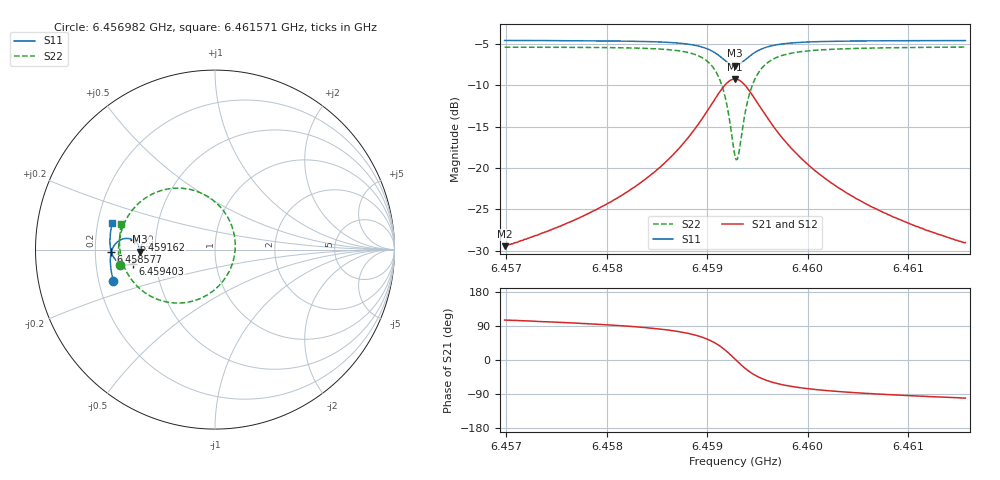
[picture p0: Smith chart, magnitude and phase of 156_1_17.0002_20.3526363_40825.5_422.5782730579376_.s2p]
#  HZ  S  RI  R  50.00
! Rohde & Schwarz Vector Network Analyzer
! Rohde-Schwarz,ZNB20-2Port,1311601062101988,3.16
! Created: UTC 3/20/2024, 10:59:02 PM
! freq[Hz]  re:S11  im:S11  re:S21  im:S21  re:S12  im:S12  re:S22  im:S22
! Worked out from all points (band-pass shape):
!   401 points, 6.456982 GHz to 6.461571 GHz, reference 50 ohm
!   highest |S21| = -9.21 dB at 6.459277 GHz (marker M1); lowest = -29.4 dB at 6.456982 GHz (marker M2)
!   |S21| within 3 dB of the highest: 6.459047 GHz to 6.459505 GHz (458.8 kHz wide, 0.0071 % of centre)
!   lowest |S11| = -7.6 dB at 6.459277 GHz (marker M3), VSWR 2.43, Z = 20.6 - j0.584 ohm
!   |S11| at or under -10 dB: nowhere
!   |S22| runs from -19.0 to -5.4 dB; largest |S21 - S12| = 0.014
!   S11 on the Smith chart (normalised r, x): 6.456982 GHz: 0.26, -0.14; 6.458577 GHz: 0.27, -0.01; 6.459162 GHz: 0.37, +0.05; 6.459403 GHz: 0.37, -0.07; 6.461571 GHz: 0.26, +0.12
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6.456982e9  -0.5662 -0.1732  -0.00894 0.0325  -0.00729 0.0324  -0.5319 -0.0857
6.4577506e9  -0.5804 -0.1059  -0.00579 0.0504  -0.00323 0.0499  -0.5376 0.00439
6.4581637e9  -0.5833 -0.0645  -0.000151 0.0694  0.0032 0.068  -0.5298 0.0696
6.4585193e9  -0.5796 -0.0221  0.0141 0.0991  0.018 0.0963  -0.5042 0.1494
6.4585767e9  -0.5777 -0.0142  0.0183 0.1059  0.0224 0.103  -0.4961 0.1663
6.4587832e9  -0.5648 0.018  0.0459 0.1385  0.05 0.1337  -0.4445 0.239
6.4589323e9  -0.542 0.0445  0.0913 0.1693  0.0946 0.1626  -0.361 0.3037
6.45907e9  -0.498 0.062  0.1788 0.1859  0.1798 0.1786  -0.2013 0.3425
6.4591618e9  -0.4531 0.0517  0.269 0.1546  0.2693 0.1487  -0.0345 0.2919
6.4592306e9  -0.4239 0.0194  0.3297 0.0823  0.3319 0.0772  0.0809 0.162
6.4592765e9  -0.4171 -0.0117  0.3461 0.0144  0.3497 0.00735  0.1127 0.035
6.459288e9  -0.4175 -0.0198  0.3457 -0.00348  0.3496 -0.0111  0.1123 0.0014
6.4593109e9  -0.4211 -0.0355  0.3402 -0.0382  0.3439 -0.0472  0.1011 -0.0645
6.4593568e9  -0.4368 -0.0618  0.3114 -0.0982  0.3137 -0.11  0.0431 -0.1774
6.4594027e9  -0.4589 -0.0781  0.2694 -0.1392  0.2685 -0.1523  -0.0418 -0.2519
6.4594945e9  -0.5024 -0.0848  0.1847 -0.1703  0.1784 -0.1818  -0.2105 -0.2978
6.4596437e9  -0.5464 -0.0646  0.0967 -0.1567  0.0883 -0.1627  -0.3777 -0.2486
6.4598043e9  -0.568 -0.0368  0.0518 -0.1288  0.0441 -0.1315  -0.4581 -0.1769
6.4600452e9  -0.5809 -0.00138  0.0226 -0.0971  0.0167 -0.0979  -0.5062 -0.0944
6.4604123e9  -0.5856 0.0421  0.00582 -0.0692  0.00193 -0.0686  -0.5283 -0.0114
6.4608139e9  -0.5839 0.0824  -0.00115 -0.052  -0.00417 -0.0512  -0.5323 0.0525
6.4615711e9  -0.5719 0.1495  -0.00647 -0.0348  -0.00806 -0.0337  -0.5211 0.142
